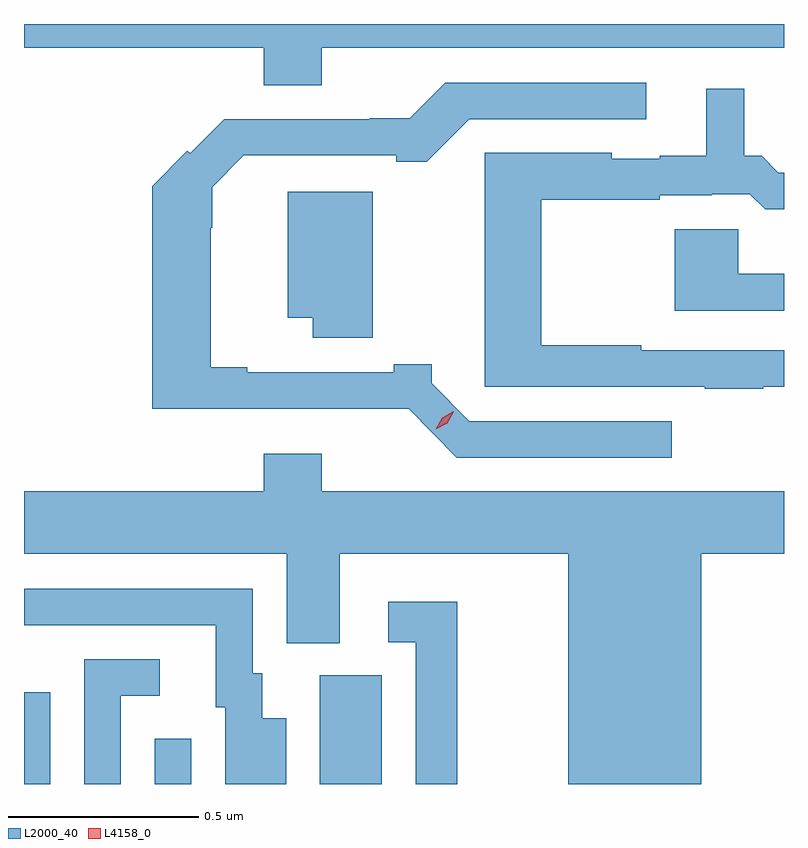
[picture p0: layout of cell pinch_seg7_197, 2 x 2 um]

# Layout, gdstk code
import gdstk
lib = gdstk.Library(unit=1e-6, precision=1e-09)
def R(c, l, rs):  # rectangles x0, y0, x1, y1
    for r in rs: c.add(gdstk.rectangle(r[:2], r[2:], *l))
def P(c, l, *ps):  # polygons
    for p in ps: c.add(gdstk.Polygon(p, *l))
L2000_40 = (2000, 40)
L4158_0 = (4158, 0)

pinch_seg7_197 = lib.new_cell('pinch_seg7_197')
R(pinch_seg7_197, L2000_40, [(1121.626,1002.674,1121.695,1002.916), (1121.97,1002.674,1122.066,1002.793), (1122.404,1002.674,1122.568,1002.96)])
P(pinch_seg7_197, L2000_40, [(1122.409,1004.612),(1123.626,1004.612),(1123.626,1004.674),(1121.626,1004.674),(1121.626,1004.612),(1122.257,1004.612),(1122.257,1004.513),(1122.409,1004.513)],
  [(1123.33,1003.629),(1122.798,1003.629),(1122.699,1003.728),(1122.699,1003.778),(1122.599,1003.778),(1122.599,1003.758),(1122.214,1003.758),(1122.214,1003.771),(1122.118,1003.771),(1122.118,1004.138),(1122.121,1004.138),(1122.121,1004.245),(1122.204,1004.328),(1122.605,1004.328),(1122.605,1004.312),(1122.686,1004.312),(1122.798,1004.424),(1123.264,1004.424),(1123.264,1004.52),(1122.735,1004.52),(1122.641,1004.426),(1122.536,1004.426),(1122.536,1004.424),(1122.153,1004.424),(1122.063,1004.334),(1122.056,1004.341),(1121.963,1004.247),(1121.963,1003.662),(1122.533,1003.662),(1122.533,1003.661),(1122.638,1003.661),(1122.765,1003.533),(1123.33,1003.533)],
  [(1123.571,1003.719),(1123.626,1003.719),(1123.626,1003.815),(1123.25,1003.815),(1123.25,1003.828),(1122.987,1003.828),(1122.987,1004.211),(1123.299,1004.211),(1123.299,1004.223),(1123.436,1004.223),(1123.436,1004.226),(1123.536,1004.226),(1123.576,1004.187),(1123.626,1004.187),(1123.626,1004.283),(1123.611,1004.283),(1123.568,1004.327),(1123.522,1004.327),(1123.522,1004.503),(1123.421,1004.503),(1123.421,1004.327),(1123.299,1004.327),(1123.299,1004.319),(1123.173,1004.319),(1123.173,1004.335),(1122.839,1004.335),(1122.839,1003.719),(1123.417,1003.719),(1123.417,1003.714),(1123.571,1003.714)],
  [(1122.544,1004.233),(1122.32,1004.233),(1122.32,1003.901),(1122.386,1003.901),(1122.386,1003.848),(1122.544,1003.848)],
  [(1123.626,1004.017),(1123.505,1004.017),(1123.505,1004.134),(1123.339,1004.134),(1123.339,1003.92),(1123.626,1003.92)],
  [(1123.408,1003.28),(1123.626,1003.28),(1123.626,1003.444),(1122.409,1003.444),(1122.409,1003.543),(1122.257,1003.543),(1122.257,1003.444),(1121.626,1003.444),(1121.626,1003.28),(1122.317,1003.28),(1122.317,1003.045),(1122.457,1003.045),(1122.457,1003.28),(1123.058,1003.28),(1123.058,1002.674),(1123.408,1002.674)],
  [(1122.316,1002.847),(1122.253,1002.847),(1122.253,1002.966),(1122.228,1002.966),(1122.228,1003.188),(1121.626,1003.188),(1121.626,1003.092),(1122.131,1003.092),(1122.131,1002.876),(1122.155,1002.876),(1122.155,1002.674),(1122.316,1002.674)],
  [(1122.766,1003.153),(1122.585,1003.153),(1122.585,1003.047),(1122.657,1003.047),(1122.657,1002.674),(1122.766,1002.674)],
  [(1121.88,1002.906),(1121.983,1002.906),(1121.983,1003.002),(1121.784,1003.002),(1121.784,1002.674),(1121.88,1002.674)])
P(pinch_seg7_197, L4158_0, [(1122.709,1003.608),(1122.709,1003.608),(1122.726,1003.638),(1122.757,1003.655),(1122.757,1003.655),(1122.757,1003.654),(1122.74,1003.624),(1122.709,1003.608)])

lib.write_gds('pinch_seg7_197.gds')
